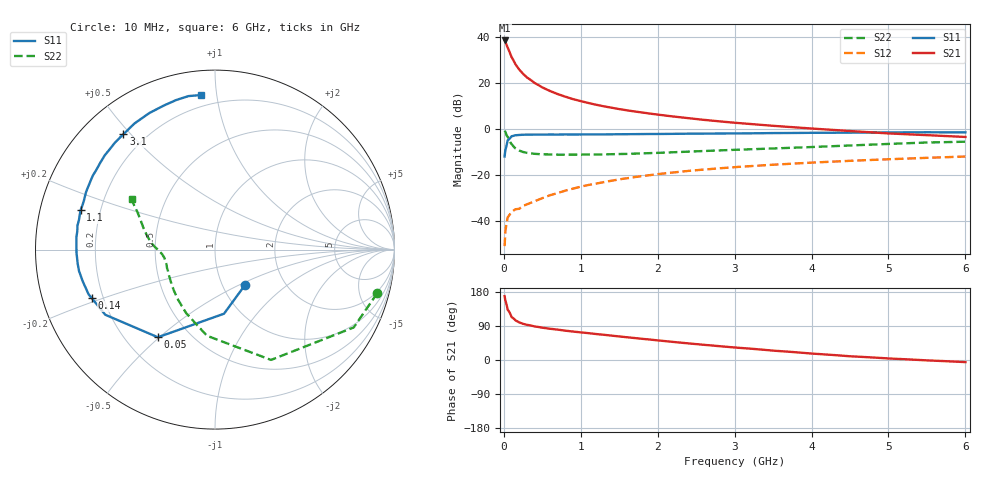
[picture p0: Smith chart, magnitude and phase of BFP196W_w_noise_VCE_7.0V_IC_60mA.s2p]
! (c) 2017  Infineon Technologies AG, Munich
! Infineon Technologies  Discrete & RF Semiconductors
! BFP196W
! VCE =  7.0 V,  IC =  60 mA
! Common Emitter S-Parameters:  Jan 2017
# GHz  S  MA  R  50
!  f  S11  S21  S12  S22
! GHz  MAG  ANG  MAG  ANG  MAG  ANG  MAG  ANG
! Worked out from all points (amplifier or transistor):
!   77 points, 10 MHz to 6 GHz, reference 50 ohm
!   highest |S21| = 38.7 dB at 10 MHz (marker M1)
!   |S21| within 3 dB of that: start of sweep to 48.57 MHz
!   unconditionally stable (mu >= 1): 646.6 MHz to 3.275 GHz
!   at 130 MHz: K = 0.45, MSG = 32.5 dB, |S12| = -35.2 dB
!   at 2.2 GHz: K = 1.04, MAG = 11.0 dB, |S12| = -18.7 dB
!   at 6 GHz: K = 0.94, MSG = 4.3 dB, |S12| = -11.8 dB
!   lowest NFmin = 1.47 dB at 450 MHz
!   S11 on the Smith chart (normalised r, x): 10 MHz: 1.28, -0.54; 50 MHz: 0.33, -0.49; 140 MHz: 0.16, -0.19; 1.1 GHz: 0.13, +0.14; 3.1 GHz: 0.12, +0.48; 6 GHz: 0.13, +0.91
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0.01  0.2585 -49.6  85.93 168.4  0.0029 77.5  0.9362 -15.0
0.02  0.3607 -82.0  80.98 156.7  0.0061 72.3  0.8862 -29.3
0.05  0.5828 -123.1  60.07 132.6  0.0122 51.5  0.6893 -63.1
0.1  0.7109 -149.3  37.36 113.4  0.0159 44.4  0.4821 -95.3
0.14  0.7377 -158.4  28.4 107.0  0.0179 44.2  0.4034 -109.9
0.15  0.7471 -160.5  26.25 104.7  0.0184 44.1  0.3888 -114.4
0.2  0.758 -166.6  20.04 99.3  0.0188 45.3  0.3474 -126.2
0.25  0.767 -171.1  16.17 95.5  0.0218 47.6  0.3234 -135.1
0.3  0.769 -174.1  13.52 92.8  0.0235 49.5  0.3096 -141.3
0.4  0.7718 -178.7  10.23 88.6  0.0274 54.6  0.2952 -149.9
0.5  0.7727 177.9  8.195 85.3  0.0321 57.2  0.288 -155.3
0.6  0.7753 174.9  6.851 82.5  0.0371 58.9  0.2862 -159.3
0.7  0.774 172.5  5.866 80.1  0.0414 61.4  0.2829 -162.1
0.9  0.7756 167.9  4.561 75.1  0.0517 62.9  0.2836 -166.0
1.1  0.7805 163.7  3.754 70.8  0.062 63.6  0.2846 -168.9
1.3  0.7796 159.5  3.18 66.5  0.0716 63.0  0.2868 -171.3
1.5  0.7868 155.9  2.768 62.2  0.0822 62.2  0.2921 -173.5
2.1  0.7986 144.6  2.005 49.8  0.1113 58.1  0.3143 -179.2
3.1  0.8209 128.4  1.356 31.5  0.1552 49.6  0.3653 172.3
4.1  0.8451 114.4  1.021 15.7  0.1934 41.1  0.4209 162.4
5.1  0.8619 103.6  0.805 3.1  0.2279 33.2  0.4909 153.2
6  0.8646 95.1  0.686 -5.6  0.2577 26.2  0.5409 148.4
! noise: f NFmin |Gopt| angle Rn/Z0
0.45  1.47  0.52  -176  0.06
0.9  1.59  0.56  -170  0.07
1.9  2.42  0.69  -149  0.17
2.4  2.81  0.73  -144  0.27
